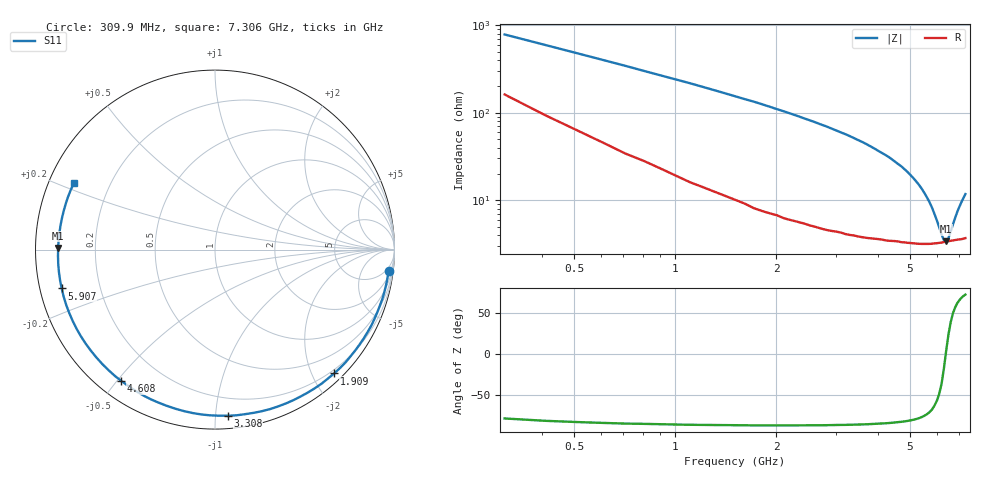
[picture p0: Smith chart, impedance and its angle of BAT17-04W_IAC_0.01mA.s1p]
! Infineon Technologies  Discrete & RF Semiconductors
! BAT17-04W
! IAC = 0.01 mA
! One-Port S-Parameters
# Hz  S  MA  R  50
!f  S11
!Hz  Mag  Ang
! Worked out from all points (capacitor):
!   71 points, 309.9 MHz to 7.306 GHz, reference 50 ohm
!   read as one part to ground: C = 657 fF near 309.9 MHz
!   lowest |Z| = 3.37 ohm at 6.407 GHz (marker M1)
!   series resonance near 6.387 GHz, so ESL is about 940 pH
!   S11 on the Smith chart (normalised r, x): 309.9 MHz: 3, -15; 1.909 GHz: 0.14, -2.34; 3.308 GHz: 0.08, -1.08; 4.608 GHz: 0.07, -0.51; 5.907 GHz: 0.06, -0.12; 7.306 GHz: 0.07, +0.22
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3.0985e8  0.9742 -7.1
7.0965e8  0.9721 -16.5
1.0095e9  0.9688 -23.6
1.2094e9  0.9666 -28.4
1.70915e9  0.9611 -40.8
1.90905e9  0.9573 -46.1
2.10895e9  0.9542 -51.5
2.50875e9  0.9457 -62.6
2.70865e9  0.9417 -68.3
2.8086e9  0.94 -71.0
3.0085e9  0.9344 -76.9
3.30835e9  0.9286 -85.6
3.6082e9  0.9217 -94.5
3.8081e9  0.9164 -100.8
4.10795e9  0.9087 -110.2
4.30785e9  0.9057 -115.9
4.6077e9  0.8987 -125.5
4.70765e9  0.8982 -128.2
5.0075e9  0.8932 -137.8
5.2074e9  0.8908 -144.0
5.4073e9  0.8885 -150.1
5.6072e9  0.8856 -156.5
5.90705e9  0.8812 -165.8
6.2069e9  0.8773 -174.5
6.4068e9  0.874 179.4
6.50675e9  0.873 176.6
6.90655e9  0.87 165.3
7.30635e9  0.869 154.7
